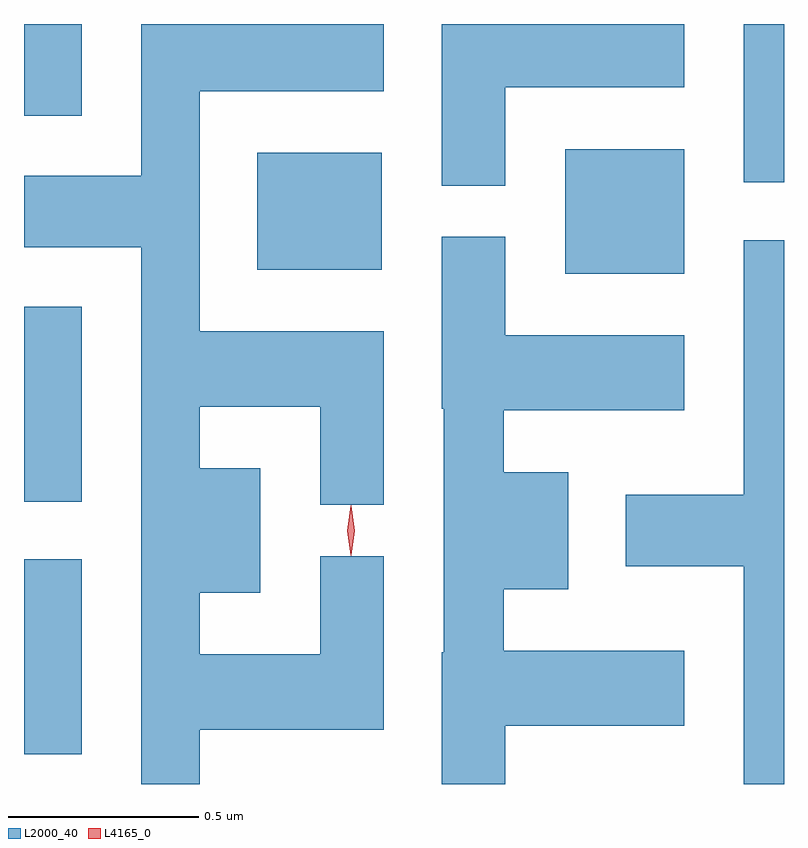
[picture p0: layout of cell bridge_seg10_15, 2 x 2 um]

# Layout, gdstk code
import gdstk
lib = gdstk.Library(unit=1e-6, precision=1e-09)
def R(c, l, rs):  # rectangles x0, y0, x1, y1
    for r in rs: c.add(gdstk.rectangle(r[:2], r[2:], *l))
def P(c, l, *ps):  # polygons
    for p in ps: c.add(gdstk.Polygon(p, *l))
L2000_40 = (2000, 40)
L4165_0 = (4165, 0)

bridge_seg10_15 = lib.new_cell('bridge_seg10_15')
R(bridge_seg10_15, L2000_40, [(1911.932,2178.661,1912.084,2179.174), (1911.932,2179.326,1912.084,2179.839), (1913.356,2179.926,1913.669,2180.254), (1912.546,2179.936,1912.874,2180.244), (1913.826,2180.166,1913.932,2180.583), (1911.932,2180.341,1912.084,2180.583)])
P(bridge_seg10_15, L2000_40, [(1912.394,2178.726),(1912.879,2178.726),(1912.879,2179.183),(1912.711,2179.183),(1912.711,2178.924),(1912.394,2178.924),(1912.394,2179.086),(1912.554,2179.086),(1912.554,2179.414),(1912.394,2179.414),(1912.394,2179.576),(1912.711,2179.576),(1912.711,2179.318),(1912.879,2179.318),(1912.879,2179.774),(1912.394,2179.774),(1912.394,2180.406),(1912.879,2180.406),(1912.879,2180.583),(1912.241,2180.583),(1912.241,2180.184),(1911.932,2180.184),(1911.932,2179.996),(1912.241,2179.996),(1912.241,2178.583),(1912.394,2178.583)],
  [(1913.199,2180.416),(1913.669,2180.416),(1913.669,2180.583),(1913.031,2180.583),(1913.031,2180.158),(1913.199,2180.158)],
  [(1913.199,2178.736),(1913.669,2178.736),(1913.669,2178.934),(1913.194,2178.934),(1913.194,2179.096),(1913.364,2179.096),(1913.364,2179.404),(1913.194,2179.404),(1913.194,2179.566),(1913.669,2179.566),(1913.669,2179.764),(1913.199,2179.764),(1913.199,2180.023),(1913.031,2180.023),(1913.031,2179.57),(1913.036,2179.57),(1913.036,2178.93),(1913.031,2178.93),(1913.031,2178.583),(1913.199,2178.583)],
  [(1913.932,2180.014),(1913.826,2180.014),(1913.826,2179.344),(1913.516,2179.344),(1913.516,2179.156),(1913.826,2179.156),(1913.826,2178.583),(1913.932,2178.583)])
P(bridge_seg10_15, L4165_0, [(1912.793,2179.184),(1912.792,2179.185),(1912.783,2179.25),(1912.792,2179.315),(1912.793,2179.316),(1912.793,2179.315),(1912.803,2179.25),(1912.793,2179.185)])

lib.write_gds('bridge_seg10_15.gds')
